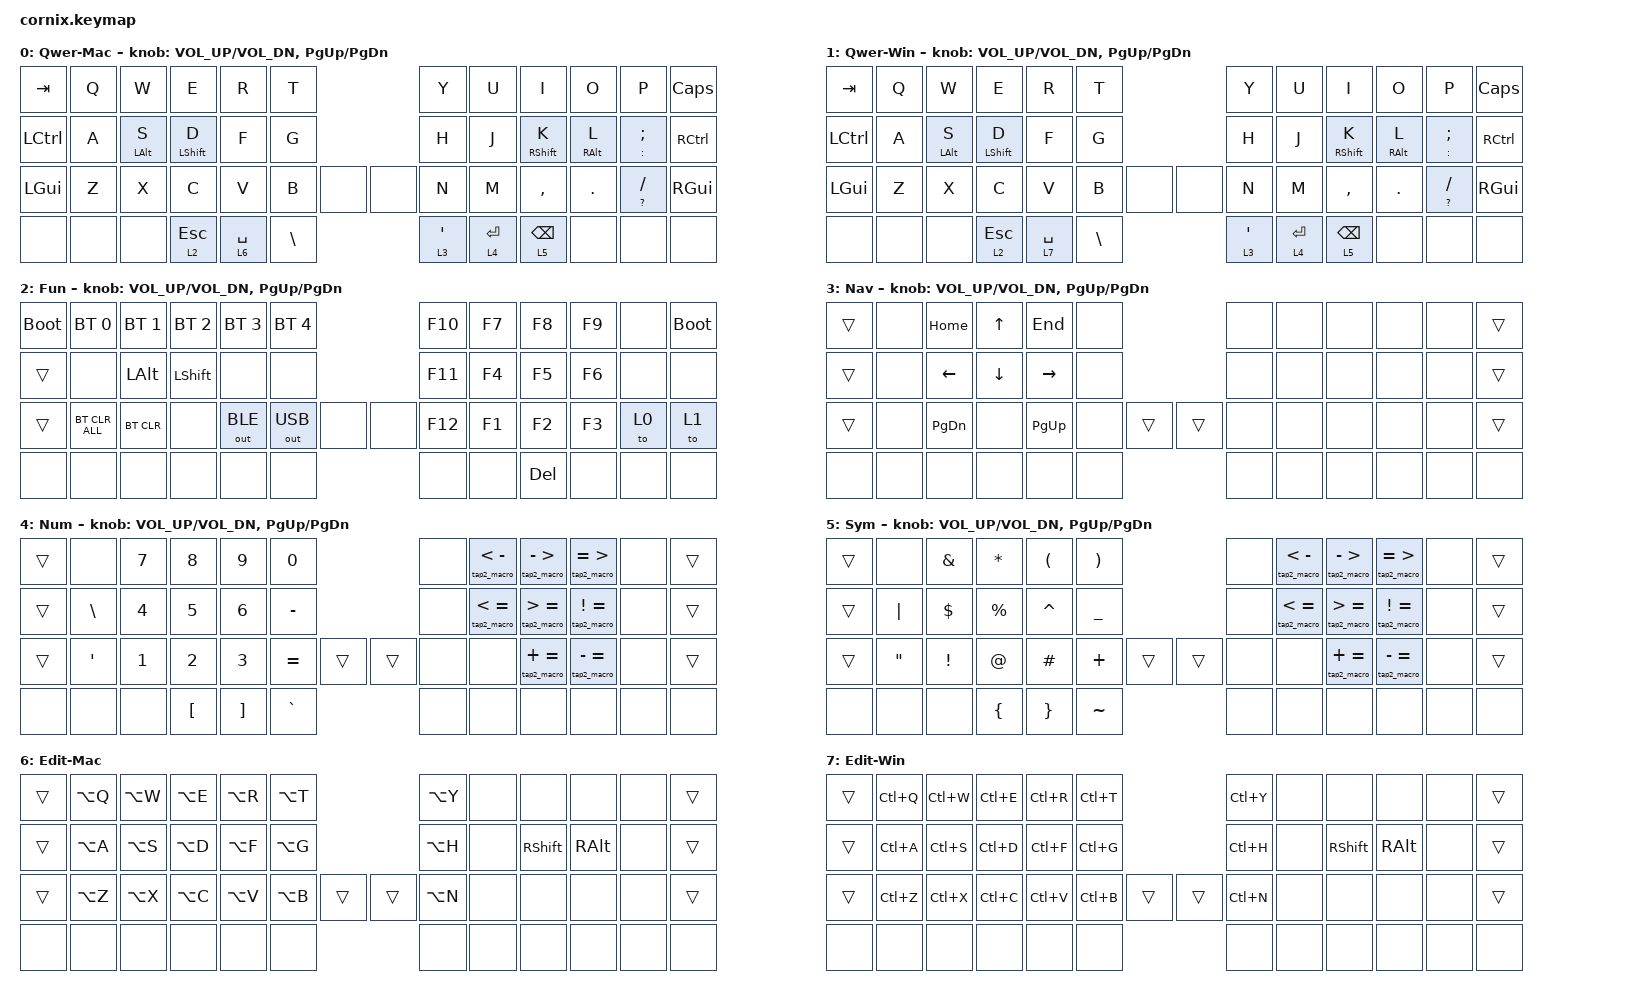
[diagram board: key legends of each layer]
/*
 * Copyright (c) 2020 The ZMK Contributors
 *
 * SPDX-License-Identifier: MIT
 */

#include "zmk-helpers/helper.h"
#include "includes/cornix54.h"

// tap windows for ctl alt and gui

#define HM_TAPPING_TERM 250
#define HM_TAPPING_REPEAT 210

// quick tapping for shift

#define HM_TAPPING_TERM_FAST 200
#define HM_PRIOR_IDLE 70
#define BASE 0
#define WIN 1
#define LOWER 2
#define RAISE 3
#define ADJUST 4
#define NAVI   5
#define NUM    6
#define DEBUG  7

// https://github.com/urob/zmk-config/tree/main#timeless-homerow-mods

#define KEYS_L LT0 LT1 LT2 LT3 LT4 LT5 LM0 LM1 LM2 LM3 LM4 LM5 LB0 LB1 LB2 LB3 LB4 LB5  // left hand
#define KEYS_R RT0 RT1 RT2 RT3 RT4 RT5 RM0 RM1 RM2 RM3 RM4 RM5 RB0 RB1 RB2 RB3 RB4 RB5  // right hand
#define THUMBS LH1 LH0 RH0 RH1
#define KEYS_T LH1 LH0 RH0 RH1
#define ZMK_POINTING_DEFAULT_SCRL_VAL 15

#include <behaviors.dtsi>
#include <dt-bindings/zmk/bt.h>
#include <dt-bindings/zmk/keys.h>
#include <dt-bindings/zmk/outputs.h>

/ {
    // Activate ADJUST layer by pressing raise and lower

    behaviors {
        hml: homerow_mods_left {
            compatible = "zmk,behavior-hold-tap";
            #binding-cells = <2>;
            bindings = <&kp>, <&kp>;

            flavor = "balanced";
            tapping-term-ms = <220>;
            quick-tap-ms = <175>;                // repeat on tap-into-hold
            require-prior-idle-ms = <80>;
            hold-trigger-key-positions = <KEYS_R KEYS_T 6 7 8 9 10 11 18 19 20 21 22 23 32 33 34 35 36 37 44 45 46 47 48 49 31>;
            hold-trigger-on-release;
            label = "HOMEROW_MODS_LEFT";
        };

        hmr: homerow_mods_right {
            compatible = "zmk,behavior-hold-tap";
            #binding-cells = <2>;
            bindings = <&kp>, <&kp>;

            flavor = "balanced";
            tapping-term-ms = <220>;
            quick-tap-ms = <175>;
            require-prior-idle-ms = <80>;
            hold-trigger-key-positions = <KEYS_L KEYS_T 0 1 2 3 4 5 12 13 14 15 16 17 24 25 26 27 28 29 30 38 39 40 41 42 43>;
            hold-trigger-on-release;
            label = "HOMEROW_MODS_RIGHT";
        };

        // Positional Homerow mods for shift
        // Use faster tapping term and disable some features that may
        // cause false negatives.
        /*
         * Non-Positional Homerow Mods
         * Used for &mm_grescm_gui behavior on left hand.
         *
         * Usage: &hm LSHFT T
         * Tap: T
         * Tap-Tap-Hold: Repeat T
         * Hold: LSHIFT
         */

        as: auto_shift {
            compatible = "zmk,behavior-hold-tap";
            label = "AUTO_SHIFT";
            bindings = <&kp>, <&kp>;

            #binding-cells = <2>;
            tapping-term-ms = <175>;
            quick-tap-ms = <125>;
            require-prior-idle-ms = <100>;
            flavor = "tap-preferred";
        };

        mol: mo_left {
            compatible = "zmk,behavior-hold-tap";
            #binding-cells = <2>;
            bindings = <&mo>, <&kp>;

            flavor = "balanced";
            tapping-term-ms = <220>;
            quick-tap-ms = <175>;
            require-prior-idle-ms = <80>;
            hold-trigger-key-positions = <KEYS_R KEYS_T 6 7 8 9 10 11 18 19 20 21 22 23 32 33 34 35 36 37 47 48 49 31 44 45 46>;
            hold-trigger-on-release;
            label = "MO_LEFT";
        };

        mor: mo_right {
            compatible = "zmk,behavior-hold-tap";
            #binding-cells = <2>;
            bindings = <&mo>, <&kp>;

            flavor = "balanced";
            tapping-term-ms = <220>;
            quick-tap-ms = <175>;
            require-prior-idle-ms = <80>;
            hold-trigger-key-positions = <KEYS_L KEYS_T 0 1 2 3 4 5 12 13 14 15 16 17 24 25 26 27 28 29 30 38 39 40 41 42 43>;
            hold-trigger-on-release;
            label = "MO_RIGHT";
        };
    };

    conditional_layers { compatible = "zmk,conditional-layers"; };

    combos { compatible = "zmk,combos"; };

    macros {
        tap2_macro: tap2_macro {
            compatible = "zmk,behavior-macro-two-param";
            #binding-cells = <2>;
            bindings =
                <&macro_param_1to1>,
                <&macro_tap>,
                <&kp MACRO_PLACEHOLDER &macro_param_2to1>,
                <&macro_tap>,
                <&kp MACRO_PLACEHOLDER>;

            label = "TAP2_MACRO";
        };
    };

    keymap {
        compatible = "zmk,keymap";

        Qwer-Mac {
            // ------------------------------------------------------------------------------------------------------------
            // |   `   |  1  |  2  |  3   |  4   |  5   |                   |  6   |  7    |  8    |  9   |   0   |       |
            // |  ESC  |  Q  |  W  |  E   |  R   |  T   |                   |  Y   |  U    |  I    |  O   |   P   | BKSPC |
            // |  TAB  |  A  |  S  |  D   |  F   |  G   |                   |  H   |  J    |  K    |  L   |   ;   |   '   |
            // | SHIFT |  Z  |  X  |  C   |  V   |  B   |  MUTE  |  |       |  N   |  M    |  ,    |  .   |   /   | SHIFT |
            //               | GUI | ALT  | CTRL | LOWER|  ENTER |  | SPACE | RAISE| CTRL  | ALT   | GUI  |

            bindings = <
&kp TAB           &kp Q  &kp W        &kp E              &kp R         &kp T                        &kp Y                &kp U         &kp I               &kp O        &kp P               &kp CAPSLOCK
&kp LEFT_CONTROL  &kp A  &hml LALT S  &hml LEFT_SHIFT D  &kp F         &kp G                        &kp H                &kp J         &hmr RIGHT_SHIFT K  &hmr RALT L  &as COLON SEMI      &kp RIGHT_CONTROL
&kp LEFT_GUI      &kp Z  &kp X        &kp C              &kp V         &kp B          &none  &none  &kp N                &kp M         &kp COMMA           &kp DOT      &as QUESTION SLASH  &kp RIGHT_GUI
&none             &none  &none        &mol 2 ESC         &mor 6 SPACE  &kp BACKSLASH                &mor 3 SINGLE_QUOTE  &mor 4 ENTER  &mor 5 BACKSPACE    &none        &none               &none
            >;

            sensor-bindings = <&inc_dec_kp C_VOL_UP C_VOL_DN &inc_dec_kp PG_UP PG_DN>;
        };

        Qwer-Win {
            bindings = <
&kp TAB           &kp Q  &kp W        &kp E              &kp R         &kp T                        &kp Y                &kp U         &kp I               &kp O        &kp P               &kp CAPSLOCK
&kp LEFT_CONTROL  &kp A  &hml LALT S  &hml LEFT_SHIFT D  &kp F         &kp G                        &kp H                &kp J         &hmr RIGHT_SHIFT K  &hmr RALT L  &as COLON SEMI      &kp RIGHT_CONTROL
&kp LEFT_GUI      &kp Z  &kp X        &kp C              &kp V         &kp B          &none  &none  &kp N                &kp M         &kp COMMA           &kp DOT      &as QUESTION SLASH  &kp RIGHT_GUI
&none             &none  &none        &mol 2 ESC         &mor 7 SPACE  &kp BACKSLASH                &mor 3 SINGLE_QUOTE  &mor 4 ENTER  &mor 5 BACKSPACE    &none        &none               &none
            >;

            sensor-bindings =
                <&inc_dec_kp C_VOL_UP C_VOL_DN>,
                <&inc_dec_kp PG_UP PG_DN>;
        };

        Fun {
            // ------------------------------------------------------------------------------------------------------------
            // |   `   |  1  |  2  |  3   |  4   |  5   |                   |  6   |  7    |  8    |  9   |   0   |       |
            // |  ESC  |  Q  |  W  |  E   |  R   |  T   |                   |  Y   |  U    |  I    |  O   |   P   | BKSPC |
            // |  TAB  |  A  |  S  |  D   |  F   |  G   |                   |  H   |  J    |  K    |  L   |   ;   |   '   |
            // | SHIFT |  Z  |  X  |  C   |  V   |  B   |  MUTE  |  |       |  N   |  M    |  ,    |  .   |   /   | SHIFT |
            //               | GUI | ALT  | CTRL | LOWER|  ENTER |  | SPACE | RAISE| CTRL  | ALT   | GUI  |

            bindings = <
&bootloader  &bt BT_SEL 0    &bt BT_SEL 1  &bt BT_SEL 2    &bt BT_SEL 3  &bt BT_SEL 4                &kp F10  &kp F7  &kp F8      &kp F9  &none  &bootloader
&trans       &none           &kp LALT      &kp LEFT_SHIFT  &none         &none                       &kp F11  &kp F4  &kp F5      &kp F6  &none  &none
&trans       &bt BT_CLR_ALL  &bt BT_CLR    &none           &out OUT_BLE  &out OUT_USB  &none  &none  &kp F12  &kp F1  &kp F2      &kp F3  &to 0  &to 1
&none        &none           &none         &none           &none         &none                       &none    &none   &kp DELETE  &none   &none  &none
            >;

            sensor-bindings =
                <&inc_dec_kp C_VOL_UP C_VOL_DN>,
                <&inc_dec_kp PAGE_UP PAGE_DOWN>;
        };

        Nav {
            // ----------------------------------------------------------------------------------------------------------------------------
            // | BTCLR  |  BT1    |  BT2    |   BT3   |   BT4   |   BT5   |                  |      |      |       |      |       |       |
            // | moDEBUG| RGB_HUD | RGB_HUI | RGB_SAD | RGB_SAI | RGB_EFF |                  |      |      |       |      |       |       |
            // | EXTPWR | RGB_BRD | RGB_BRI |         |         |         |                  |      |      |       |      |       |       |
            // |        |         |         |         |         |         | RGB_TOG | |      |      |      |       |      |       |       |
            //                    |         |         |         |         |         | |      |      |      |       |      |

            bindings = <
&trans  &none  &kp HOME        &kp UP_ARROW    &kp END          &none                  &none  &none  &none  &none  &none  &trans
&trans  &none  &kp LEFT_ARROW  &kp DOWN_ARROW  &kp RIGHT_ARROW  &none                  &none  &none  &none  &none  &none  &trans
&trans  &none  &kp PAGE_DOWN   &none           &kp PAGE_UP      &none  &trans  &trans  &none  &none  &none  &none  &none  &trans
&none   &none  &none           &none           &none            &none                  &none  &none  &none  &none  &none  &none
            >;

            sensor-bindings =
                <&inc_dec_kp C_VOL_UP C_VOL_DN>,
                <&inc_dec_kp PAGE_UP PAGE_DOWN>;
        };

        Num {
            // ------------------------------------------------------------------------------------------------------------
            // | BTCLR | BT1  | BT2  |  BT3  |  BT4  |  BT5 |                |      |      |       |      |       |       |
            // |       | INS  | PSCR | GUI   |       |      |                | PGUP |      |   ^   |      |       |       |
            // |       | ALT  | CTRL | SHIFT |       | CAPS |                | PGDN |   <- |   v   |  ->  |  DEL  | BKSPC |
            // |       | UNDO | CUT  | COPY  | PASTE |      |      |  |      |      |      |       |      |       |       |
            //                |      |       |       |      |      |  |      |      |      |       |      |

            bindings = <
&trans  &none             &kp N7  &kp N8            &kp N9             &kp N0                     &none  &tap2_macro LESS_THAN MINUS  &tap2_macro MINUS GREATER_THAN  &tap2_macro EQUAL GREATER_THAN  &none  &trans
&trans  &kp BACKSLASH     &kp N4  &kp N5            &kp N6             &kp MINUS                  &none  &tap2_macro LESS_THAN EQUAL  &tap2_macro GREATER_THAN EQUAL  &tap2_macro EXCLAMATION EQUAL   &none  &trans
&trans  &kp SINGLE_QUOTE  &kp N1  &kp N2            &kp N3             &kp EQUAL  &trans  &trans  &none  &none                        &tap2_macro PLUS EQUAL          &tap2_macro MINUS EQUAL         &none  &trans
&none   &none             &none   &kp LEFT_BRACKET  &kp RIGHT_BRACKET  &kp GRAVE                  &none  &none                        &none                           &none                           &none  &none
            >;

            sensor-bindings = <&inc_dec_kp C_VOL_UP C_VOL_DN &inc_dec_kp PG_UP PG_DN>;
        };

        Sym {
            bindings = <
&trans  &none              &kp AMPERSAND    &kp ASTERISK    &kp LEFT_PARENTHESIS  &kp RIGHT_PARENTHESIS                  &none  &tap2_macro LESS_THAN MINUS  &tap2_macro MINUS GREATER_THAN  &tap2_macro EQUAL GREATER_THAN  &none  &trans
&trans  &kp PIPE           &kp DOLLAR       &kp PERCENT     &kp CARET             &kp UNDERSCORE                         &none  &tap2_macro LESS_THAN EQUAL  &tap2_macro GREATER_THAN EQUAL  &tap2_macro EXCLAMATION EQUAL   &none  &trans
&trans  &kp DOUBLE_QUOTES  &kp EXCLAMATION  &kp AT_SIGN     &kp HASH              &kp PLUS               &trans  &trans  &none  &none                        &tap2_macro PLUS EQUAL          &tap2_macro MINUS EQUAL         &none  &trans
&none   &none              &none            &kp LEFT_BRACE  &kp RIGHT_BRACE       &kp TILDE                              &none  &none                        &none                           &none                           &none  &none
            >;

            sensor-bindings =
                <&inc_dec_kp C_VOL_UP C_VOL_DN>,
                <&inc_dec_kp PG_UP PG_DN>;
        };

        Edit-Mac {
            bindings = <
&trans  &kp LA(Q)  &kp LA(W)  &kp LA(E)  &kp LA(R)  &kp LA(T)                  &kp LA(Y)  &none  &none            &none          &none  &trans
&trans  &kp LA(A)  &kp LA(S)  &kp LA(D)  &kp LA(F)  &kp LA(G)                  &kp LA(H)  &none  &kp RIGHT_SHIFT  &kp RIGHT_ALT  &none  &trans
&trans  &kp LA(Z)  &kp LA(X)  &kp LA(C)  &kp LA(V)  &kp LA(B)  &trans  &trans  &kp LA(N)  &none  &none            &none          &none  &trans
&none   &none      &none      &none      &none      &none                      &none      &none  &none            &none          &none  &none
            >;
        };

        Edit-Win {
            // ----------------------------------------------------------------------------------------------------------------------------
            // | BTCLR  |  BT1    |  BT2    |   BT3   |   BT4   |   BT5   |                  |      |      |       |      |       |       |
            // | EXTPWR | BTCLR | RGB_HUI | RGB_SAD | RGB_SAI | RGB_EFF |                  |      |      |       |      |       |       |
            // |        | RGB_BRD | RGB_BRI |         |         |         |                  |      |      |       |      |       |       |
            // |        |         |         |         |         |         | RGB_TOG | |      |      |      |       |      |       |       |
            //                    |         |         |         |         |         | |      |      |      |       |      |

            bindings = <
&trans  &kp LC(Q)  &kp LC(W)  &kp LC(E)  &kp LC(R)  &kp LC(T)                  &kp LC(Y)  &none  &none            &none          &none  &trans
&trans  &kp LC(A)  &kp LC(S)  &kp LC(D)  &kp LC(F)  &kp LC(G)                  &kp LC(H)  &none  &kp RIGHT_SHIFT  &kp RIGHT_ALT  &none  &trans
&trans  &kp LC(Z)  &kp LC(X)  &kp LC(C)  &kp LC(V)  &kp LC(B)  &trans  &trans  &kp LC(N)  &none  &none            &none          &none  &trans
&none   &none      &none      &none      &none      &none                      &none      &none  &none            &none          &none  &none
            >;
        };
    };
};
